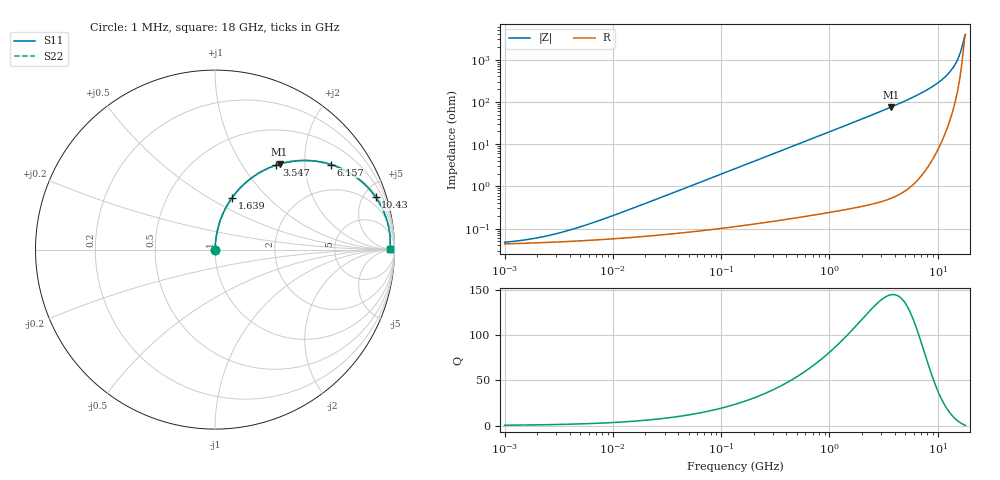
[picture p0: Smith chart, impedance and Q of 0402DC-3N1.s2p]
# MHz  S  MA  R  50
!Freq  MagS11  AngS11  MagS21  AngS21  MagS12  AngS12  MagS22  AngS22
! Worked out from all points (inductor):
!   801 points, 1 MHz to 18 GHz, reference 50 ohm
!   read as one part in series: L = 3.1 nH near 8.644 MHz
!   highest Q = 145 at 3.68 GHz (marker M1), where L = 3.23 nH
!   S11 on the Smith chart (normalised r, x): 1 MHz: 1.00, +0.00; 1.639 GHz: 1.01, +0.64; 3.547 GHz: 1.01, +1.44; 6.157 GHz: 1.02, +2.71; 10.43 GHz: 1.18, +6.07; 18 GHz: 78, +14
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1  0.0004756 24.2  0.9996 -0.0  0.9996 -0.0  0.0004756 24.2
1.498406  0.0005348 33.0  0.9996 -0.0  0.9996 -0.0  0.0005348 33.0
2.245221  0.0006388 43.2  0.9995 -0.0  0.9995 -0.0  0.0006388 43.2
5.166095  0.00113 62.8  0.9995 -0.1  0.9995 -0.1  0.00113 62.8
26.36347  0.005179 82.0  0.9993 -0.3  0.9993 -0.3  0.005179 82.0
134.5374  0.02619 86.1  0.9985 -1.5  0.9985 -1.5  0.02619 86.1
337.288  0.0655 84.9  0.9963 -3.8  0.9963 -3.8  0.0655 84.9
695.0327  0.1341 81.4  0.9889 -7.7  0.9889 -7.7  0.1341 81.4
1120.901  0.2136 77.0  0.9745 -12.3  0.9745 -12.3  0.2136 77.0
1638.901  0.3056 71.7  0.9493 -17.8  0.9493 -17.8  0.3056 71.7
2455.739  0.4367 63.7  0.8962 -25.9  0.8962 -25.9  0.4367 63.7
3546.872  0.5816 54.0  0.8094 -35.6  0.8094 -35.6  0.5816 54.0
3679.695  0.5968 53.0  0.7982 -36.6  0.7982 -36.6  0.5968 53.0
4818.348  0.7081 44.5  0.701 -45.1  0.701 -45.1  0.7081 44.5
6156.591  0.8015 36.2  0.5909 -53.3  0.5909 -53.3  0.8015 36.2
8161.102  0.8888 26.4  0.4454 -62.7  0.4454 -62.7  0.8888 26.4
10427.76  0.9416 18.0  0.3099 -70.2  0.3099 -70.2  0.9416 18.0
12532.06  0.9659 11.9  0.2066 -74.6  0.2066 -74.6  0.9659 11.9
14517.37  0.9759 7.1  0.1247 -75.3  0.1247 -75.3  0.9759 7.1
15817.67  0.9779 4.3  0.07822 -71.4  0.07822 -71.4  0.9779 4.3
17234.45  0.9771 1.6  0.03619 -50.0  0.03619 -50.0  0.9771 1.6
18000  0.9756 0.3  0.02478 -10.1  0.02478 -10.1  0.9756 0.3
